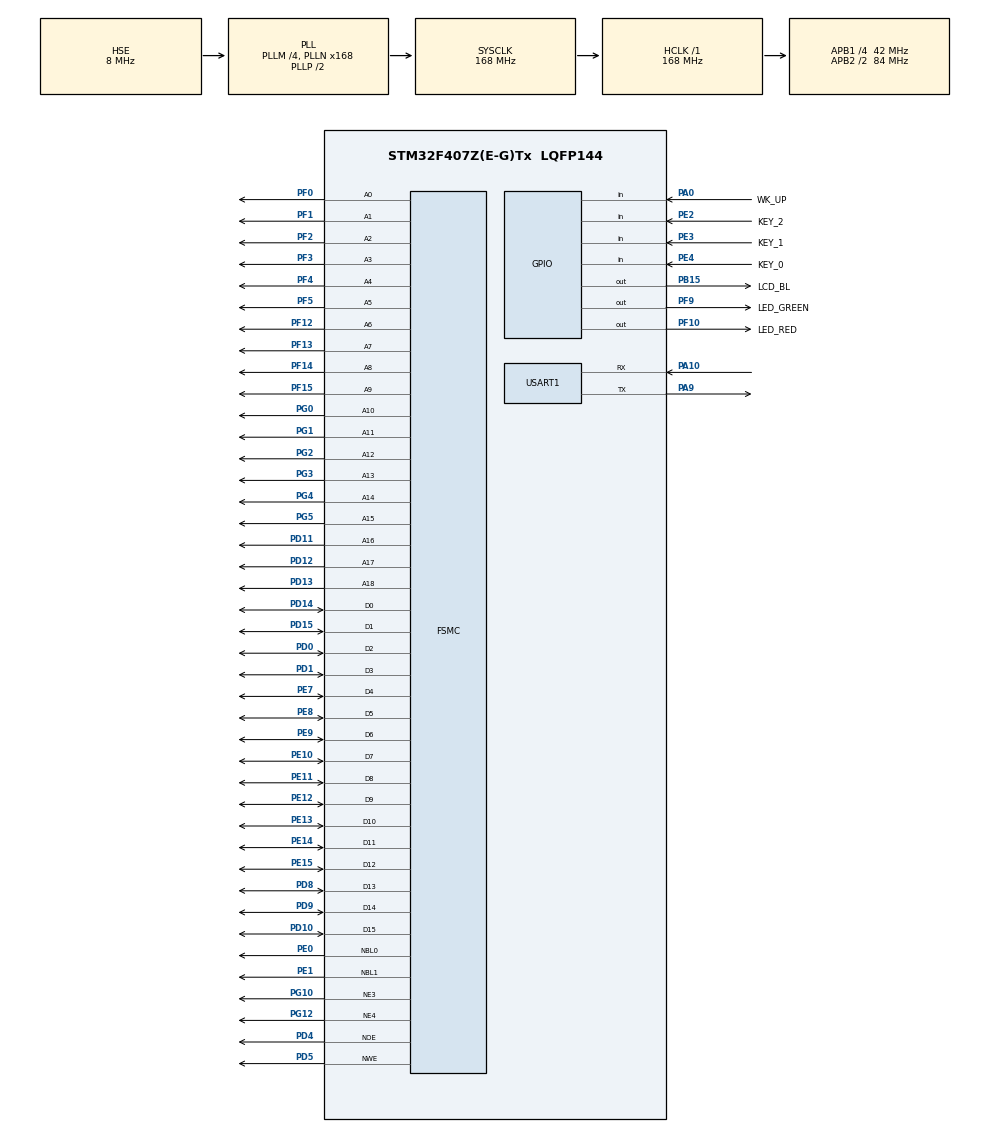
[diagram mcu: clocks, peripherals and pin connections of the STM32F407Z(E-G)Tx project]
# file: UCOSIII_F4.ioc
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FSMC.AddressSetupTime3=0
FSMC.BusTurnAroundDuration1=0
FSMC.BusTurnAroundDuration3=0
FSMC.DataSetupTime1=60
FSMC.DataSetupTime3=8
FSMC.ExtendedAddressSetupTime1=9
FSMC.ExtendedBusTurnAroundDuration1=0
FSMC.ExtendedDataSetupTime1=8
FSMC.ExtendedMode1=FSMC_EXTENDED_MODE_ENABLE
FSMC.ExtendedMode3=FSMC_EXTENDED_MODE_DISABLE
FSMC.WriteOperation3=FSMC_WRITE_OPERATION_ENABLE
Mcu.Family=STM32F4
Mcu.Name=STM32F407Z(E-G)Tx
Mcu.Package=LQFP144
NVIC.PriorityGroup=NVIC_PRIORITYGROUP_4
NVIC.TIM1_UP_TIM10_IRQn=true\:0\:0\:false\:false\:true\:false\:true
NVIC.TimeBase=TIM1_UP_TIM10_IRQn
NVIC.TimeBaseIP=TIM1
NVIC.USART1_IRQn=true\:0\:0\:false\:false\:true\:true\:true
PA0-WKUP.GPIO_Label=WK_UP
PA0-WKUP.GPIO_PuPd=GPIO_PULLDOWN
PA0-WKUP.Signal=GPIO_Input
PA10.Mode=Asynchronous
PA10.Signal=USART1_RX
PA13.Mode=Serial_Wire
PA13.Signal=SYS_JTMS-SWDIO
PA14.Mode=Serial_Wire
PA14.Signal=SYS_JTCK-SWCLK
PA9.Mode=Asynchronous
PA9.Signal=USART1_TX
PB15.GPIO_Label=LCD_BL
PB15.GPIO_Speed=GPIO_SPEED_FREQ_HIGH
PB15.Signal=GPIO_Output
PC14-OSC32_IN.Mode=LSE-External-Oscillator
PC14-OSC32_IN.Signal=RCC_OSC32_IN
PC15-OSC32_OUT.Mode=LSE-External-Oscillator
PC15-OSC32_OUT.Signal=RCC_OSC32_OUT
PD0.Signal=FSMC_D2_DA2
PD1.Signal=FSMC_D3_DA3
PD10.Signal=FSMC_D15_DA15
PD11.Signal=FSMC_A16_CLE
PD12.Signal=FSMC_A17_ALE
PD13.Signal=FSMC_A18
PD14.Signal=FSMC_D0_DA0
PD15.Signal=FSMC_D1_DA1
PD4.Signal=FSMC_NOE
PD5.Signal=FSMC_NWE
PD8.Signal=FSMC_D13_DA13
PD9.Signal=FSMC_D14_DA14
PE0.Signal=FSMC_NBL0
PE1.Signal=FSMC_NBL1
PE10.Signal=FSMC_D7_DA7
PE11.Signal=FSMC_D8_DA8
PE12.Signal=FSMC_D9_DA9
PE13.Signal=FSMC_D10_DA10
PE14.Signal=FSMC_D11_DA11
PE15.Signal=FSMC_D12_DA12
PE2.GPIO_Label=KEY_2
PE2.GPIO_PuPd=GPIO_PULLUP
PE2.Signal=GPIO_Input
PE3.GPIO_Label=KEY_1
PE3.GPIO_PuPd=GPIO_PULLUP
PE3.Signal=GPIO_Input
PE4.GPIO_Label=KEY_0
PE4.GPIO_PuPd=GPIO_PULLUP
PE4.Signal=GPIO_Input
PE7.Signal=FSMC_D4_DA4
PE8.Signal=FSMC_D5_DA5
PE9.Signal=FSMC_D6_DA6
PF0.Signal=FSMC_A0
PF1.Signal=FSMC_A1
PF10.GPIO_Label=LED_RED
PF10.GPIO_PuPd=GPIO_PULLUP
PF10.GPIO_Speed=GPIO_SPEED_FREQ_HIGH
PF10.PinState=GPIO_PIN_SET
PF10.Signal=GPIO_Output
PF12.Signal=FSMC_A6
PF13.Signal=FSMC_A7
PF14.Signal=FSMC_A8
PF15.Signal=FSMC_A9
PF2.Signal=FSMC_A2
PF3.Signal=FSMC_A3
PF4.Signal=FSMC_A4
PF5.Signal=FSMC_A5
PF9.GPIO_Label=LED_GREEN
PF9.GPIO_PuPd=GPIO_PULLUP
PF9.GPIO_Speed=GPIO_SPEED_FREQ_HIGH
PF9.PinState=GPIO_PIN_SET
PF9.Signal=GPIO_Output
PG0.Signal=FSMC_A10
PG1.Signal=FSMC_A11
PG10.Mode=NorPsramChipSelect3_3
PG10.Signal=FSMC_NE3
PG12.Mode=NorPsramChipSelect4_1
PG12.Signal=FSMC_NE4
PG2.Signal=FSMC_A12
PG3.Signal=FSMC_A13
PG4.Signal=FSMC_A14
PG5.Signal=FSMC_A15
PH0-OSC_IN.Mode=HSE-External-Oscillator
PH0-OSC_IN.Signal=RCC_OSC_IN
PH1-OSC_OUT.Mode=HSE-External-Oscillator
PH1-OSC_OUT.Signal=RCC_OSC_OUT
ProjectManager.HeapSize=0x200
ProjectManager.StackSize=0x400
ProjectManager.TargetToolchain=MDK-ARM V5
RCC.48MHZClocksFreq_Value=84000000
RCC.AHBFreq_Value=168000000
RCC.APB1CLKDivider=RCC_HCLK_DIV4
RCC.APB1Freq_Value=42000000
RCC.APB1TimFreq_Value=84000000
RCC.APB2CLKDivider=RCC_HCLK_DIV2
RCC.APB2Freq_Value=84000000
RCC.APB2TimFreq_Value=168000000
RCC.CortexFreq_Value=168000000
RCC.HCLKFreq_Value=168000000
RCC.HSE_VALUE=8000000
RCC.HSI_VALUE=16000000
RCC.PLLM=4
RCC.PLLN=168
RCC.PLLSourceVirtual=RCC_PLLSOURCE_HSE
RCC.SYSCLKFreq_VALUE=168000000
RCC.SYSCLKSource=RCC_SYSCLKSOURCE_PLLCLK
RCC.VCOOutputFreq_Value=336000000
SH.FSMC_A0.0=FSMC_A0,19b-a3
SH.FSMC_A1.0=FSMC_A1,19b-a3
SH.FSMC_A10.0=FSMC_A10,19b-a3
SH.FSMC_A11.0=FSMC_A11,19b-a3
SH.FSMC_A12.0=FSMC_A12,19b-a3
SH.FSMC_A13.0=FSMC_A13,19b-a3
SH.FSMC_A14.0=FSMC_A14,19b-a3
SH.FSMC_A15.0=FSMC_A15,19b-a3
SH.FSMC_A16_CLE.0=FSMC_A16,19b-a3
SH.FSMC_A17_ALE.0=FSMC_A17,19b-a3
SH.FSMC_A18.0=FSMC_A18,19b-a3
SH.FSMC_A2.0=FSMC_A2,19b-a3
SH.FSMC_A3.0=FSMC_A3,19b-a3
SH.FSMC_A4.0=FSMC_A4,19b-a3
SH.FSMC_A5.0=FSMC_A5,19b-a3
SH.FSMC_A6.0=FSMC_A6,A6_1
SH.FSMC_A6.1=FSMC_A6,19b-a3
SH.FSMC_A7.0=FSMC_A7,19b-a3
SH.FSMC_A8.0=FSMC_A8,19b-a3
SH.FSMC_A9.0=FSMC_A9,19b-a3
SH.FSMC_D0_DA0.0=FSMC_D0,16b-d1
SH.FSMC_D0_DA0.1=FSMC_D0,16b-d3
SH.FSMC_D10_DA10.0=FSMC_D10,16b-d1
SH.FSMC_D10_DA10.1=FSMC_D10,16b-d3
SH.FSMC_D11_DA11.0=FSMC_D11,16b-d1
SH.FSMC_D11_DA11.1=FSMC_D11,16b-d3
SH.FSMC_D12_DA12.0=FSMC_D12,16b-d1
SH.FSMC_D12_DA12.1=FSMC_D12,16b-d3
SH.FSMC_D13_DA13.0=FSMC_D13,16b-d1
SH.FSMC_D13_DA13.1=FSMC_D13,16b-d3
SH.FSMC_D14_DA14.0=FSMC_D14,16b-d1
SH.FSMC_D14_DA14.1=FSMC_D14,16b-d3
SH.FSMC_D15_DA15.0=FSMC_D15,16b-d1
SH.FSMC_D15_DA15.1=FSMC_D15,16b-d3
SH.FSMC_D1_DA1.0=FSMC_D1,16b-d1
SH.FSMC_D1_DA1.1=FSMC_D1,16b-d3
SH.FSMC_D2_DA2.0=FSMC_D2,16b-d1
SH.FSMC_D2_DA2.1=FSMC_D2,16b-d3
SH.FSMC_D3_DA3.0=FSMC_D3,16b-d1
SH.FSMC_D3_DA3.1=FSMC_D3,16b-d3
SH.FSMC_D4_DA4.0=FSMC_D4,16b-d1
SH.FSMC_D4_DA4.1=FSMC_D4,16b-d3
SH.FSMC_D5_DA5.0=FSMC_D5,16b-d1
SH.FSMC_D5_DA5.1=FSMC_D5,16b-d3
SH.FSMC_D6_DA6.0=FSMC_D6,16b-d1
SH.FSMC_D6_DA6.1=FSMC_D6,16b-d3
SH.FSMC_D7_DA7.0=FSMC_D7,16b-d1
SH.FSMC_D7_DA7.1=FSMC_D7,16b-d3
SH.FSMC_D8_DA8.0=FSMC_D8,16b-d1
SH.FSMC_D8_DA8.1=FSMC_D8,16b-d3
SH.FSMC_D9_DA9.0=FSMC_D9,16b-d1
SH.FSMC_D9_DA9.1=FSMC_D9,16b-d3
SH.FSMC_NBL0.0=FSMC_NBL0,2ByteEnable3
SH.FSMC_NBL1.0=FSMC_NBL1,2ByteEnable3
SH.FSMC_NOE.0=FSMC_NOE,Lcd1
SH.FSMC_NOE.1=FSMC_NOE,Sram3
SH.FSMC_NWE.0=FSMC_NWE,Lcd1
SH.FSMC_NWE.1=FSMC_NWE,Sram3
TIM7.Period=1
TIM7.Prescaler=84-1
USART1.VirtualMode=VM_ASYNC
VP_SYS_VS_tim1.Mode=TIM1
VP_TIM7_VS_ClockSourceINT.Mode=Enable_Timer
board=custom

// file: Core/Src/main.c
/* USER CODE BEGIN Header */
/**
  ******************************************************************************
  * @file           : main.c
  * @brief          : Main program body
  ******************************************************************************
  * @attention
  *
  * <h2><center>&copy; Copyright (c) 2020 STMicroelectronics.
  * All rights reserved.</center></h2>
  *
  * This software component is licensed by ST under BSD 3-Clause license,
  * the "License"; You may not use this file except in compliance with the
  * License. You may obtain a copy of the License at:
  *                        opensource.org/licenses/BSD-3-Clause
  *
  ******************************************************************************
  */
/* USER CODE END Header */
#include "main.h"
#include "tim.h"
#include "usart.h"
#include "gpio.h"
#include "fsmc.h"

/* USER CODE BEGIN Includes */
#include "key.h"			//引用按键扫描相关函数
#include "ILI93xx.h"	//LCD头文件
#include "sram.h"			//引用外部内存读写相关函数
#include "malloc.h"		//引用内存管理相关函数
#include "stdio.h"

#include "includes.h"
#include "delay.h"
#include "sys.h"
/* USER CODE END Includes */

/* USER CODE BEGIN PTD */
/*----------------------灯等引脚的定义---------------------------*/
#define LED_GREEN_H		HAL_GPIO_WritePin(LED_GREEN_GPIO_Port,LED_GREEN_Pin,GPIO_PIN_SET)
#define LED_GREEN_L		HAL_GPIO_WritePin(LED_GREEN_GPIO_Port,LED_GREEN_Pin,GPIO_PIN_RESET)
#define LED_GREEN_TO	HAL_GPIO_TogglePin(LED_GREEN_GPIO_Port,LED_GREEN_Pin)

#define LED_RED_H		HAL_GPIO_WritePin(LED_RED_GPIO_Port,LED_RED_Pin,GPIO_PIN_SET)
#define LED_RED_L		HAL_GPIO_WritePin(LED_RED_GPIO_Port,LED_RED_Pin,GPIO_PIN_RESET)
#define LED_RED_TO	HAL_GPIO_TogglePin(LED_RED_GPIO_Port,LED_RED_Pin)

//LCD刷屏时使用的颜色
int lcd_discolor[14]={	WHITE, BLACK, BLUE,  BRED,
						GRED,  GBLUE, RED,   MAGENTA,
						GREEN, CYAN,  YELLOW,BROWN,
						BRRED, GRAY };

/*----------------------宏定义配置开始任务---------------------------*/
//任务优先级
#define START_TASK_PRIO		3
//任务堆栈大小
#define START_STK_SIZE 		512
//任务控制块
OS_TCB StartTaskTCB;
//任务堆栈,这里声明了任务堆栈名，任务大小早已设置过
CPU_STK START_TASK_STK[START_STK_SIZE];
//任务函数
void start_task(void *p_arg);

/*----------------------宏定义配置任务1---------------------------*/
//任务优先级
#define TASK1_TASK_PRIO		4
//任务堆栈大小
#define TASK1_STK_SIZE 		128
//任务控制块
OS_TCB TASK1_TaskTCB;
//任务堆栈
CPU_STK TASK1_TASK_STK[TASK1_STK_SIZE];
void task1_task(void *p_arg);

/*----------------------宏定义配置任务2---------------------------*/
//任务优先级
#define TASK2_TASK_PRIO		5
//任务堆栈大小
#define TASK2_STK_SIZE 		128
//任务控制块
OS_TCB TASK2_TaskTCB;
//任务堆栈
CPU_STK TASK2_TASK_STK[TASK2_STK_SIZE];
//任务函数
void task2_task(void *p_arg);

/*----------------------宏定义配置任务3---------------------------*/
//任务优先级
#define TASK3_TASK_PRIO		6
//任务堆栈大小
#define TASK3_STK_SIZE		128
//任务控制块
OS_TCB	TASK3_TaskTCB;
//任务堆栈
__align(8) CPU_STK	TASK3_TASK_STK[TASK3_STK_SIZE];
//任务函数
void task3_task(void *p_arg);

/* USER CODE END PTD */

void SystemClock_Config(void);

/* USER CODE BEGIN 0 */

//重定向printf到串口1
#if 1
#include <stdio.h>
#pragma import(__use_no_semihosting)
//标准库需要的支持函数
struct __FILE
{
	int handle;
};

FILE __stdout;
//定义_sys_exit()以避免使用半主机模式
void _sys_exit(int x)
{
	x = x;
}
//重定义fputc函数
int fputc(int ch, FILE *stream)
{
    /* 堵塞判断串口是否发送完成 */
    while((USART1->SR & 0X40) == 0);

    /* 串口发送完成，将该字符发送 */
    USART1->DR = (uint8_t) ch;

    return ch;
}
#endif

/* USER CODE END 0 */

int main(void)
{
  /* USER CODE BEGIN 1 */
	OS_ERR err;				//OS初始化的输入参数
	CPU_SR_ALLOC();
	delay_init(168);  //时钟初始化,同时也是为了UCOSIII的使用
  /* USER CODE END 1 */

  /* MCU Configuration--------------------------------------------------------*/

  /* Reset of all peripherals, Initializes the Flash interface and the Systick. */
  HAL_Init();

  /* Configure the system clock */
  SystemClock_Config();

  /* Initialize all configured peripherals */
  MX_GPIO_Init();
  MX_FSMC_Init();
  MX_USART1_UART_Init();
  MX_TIM7_Init();
  /* USER CODE BEGIN 2 */
	TFTLCD_Init();		//初始化LCD

	my_mem_init(SRAMIN);		//初始化内部内存池
	my_mem_init(SRAMEX);		//初始化外部内存池
	my_mem_init(SRAMCCM);		//初始化CCM内存池

	LCD_Clear(WHITE);
	LCD_ShowString(30,10,210,24,24,"MY name is YYJed!");

	OSInit(&err);		//初始化UCOSIII
	OS_CRITICAL_ENTER();//进入临界区
	/*----------------创建开始任务-------------------*/
	OSTaskCreate(		(OS_TCB 	*  )	&StartTaskTCB,						//任务控制块
									(CPU_CHAR	*  )	"start task", 						//任务名字
									(OS_TASK_PTR )	start_task, 							//任务函数
									(void		* 	 )			0,										//传递给任务函数的参数
									(OS_PRIO	   )	START_TASK_PRIO,    			//任务优先级
									(CPU_STK   * )	&START_TASK_STK[0],				//任务堆栈基地址
									(CPU_STK_SIZE)	START_STK_SIZE/10,				//任务堆栈深度限位
									(CPU_STK_SIZE)	START_STK_SIZE,						//任务堆栈大小
									(OS_MSG_QTY  )			0,										//任务内部消息队列能够接收的最大消息数目,为0时禁止接收消息
									(OS_TICK	   )			0,										//当使能时间片轮转时的时间片长度，为0时为默认长度，
									(void   	*  )			0,										//用户补充的存储区
									(OS_OPT      )	OS_OPT_TASK_STK_CHK|OS_OPT_TASK_STK_CLR, //任务选项:允许对任务进行堆栈检查，在创建任务时清除堆栈
									(OS_ERR 	*  )		&err);									//存放该函数错误时的返回值

										OS_CRITICAL_EXIT();											//退出临界区
										OSStart(&err);  												//开启UCOSIII
  /* USER CODE END 2 */

  /* Infinite loop */
  while (1)
  {

  }
}

void SystemClock_Config(void)
{
  RCC_OscInitTypeDef RCC_OscInitStruct = {0};
  RCC_ClkInitTypeDef RCC_ClkInitStruct = {0};

  /** Configure the main internal regulator output voltage
  */
  __HAL_RCC_PWR_CLK_ENABLE();
  __HAL_PWR_VOLTAGESCALING_CONFIG(PWR_REGULATOR_VOLTAGE_SCALE1);
  /** Initializes the RCC Oscillators according to the specified parameters
  * in the RCC_OscInitTypeDef structure.
  */
  RCC_OscInitStruct.OscillatorType = RCC_OSCILLATORTYPE_HSE;
  RCC_OscInitStruct.HSEState = RCC_HSE_ON;
  RCC_OscInitStruct.PLL.PLLState = RCC_PLL_ON;
  RCC_OscInitStruct.PLL.PLLSource = RCC_PLLSOURCE_HSE;
  RCC_OscInitStruct.PLL.PLLM = 4;
  RCC_OscInitStruct.PLL.PLLN = 168;
  RCC_OscInitStruct.PLL.PLLP = RCC_PLLP_DIV2;
  RCC_OscInitStruct.PLL.PLLQ = 4;
  if (HAL_RCC_OscConfig(&RCC_OscInitStruct) != HAL_OK)
  {
    Error_Handler();
  }
  /** Initializes the CPU, AHB and APB buses clocks
  */
  RCC_ClkInitStruct.ClockType = RCC_CLOCKTYPE_HCLK|RCC_CLOCKTYPE_SYSCLK
                              |RCC_CLOCKTYPE_PCLK1|RCC_CLOCKTYPE_PCLK2;
  RCC_ClkInitStruct.SYSCLKSource = RCC_SYSCLKSOURCE_PLLCLK;
  RCC_ClkInitStruct.AHBCLKDivider = RCC_SYSCLK_DIV1;
  RCC_ClkInitStruct.APB1CLKDivider = RCC_HCLK_DIV4;
  RCC_ClkInitStruct.APB2CLKDivider = RCC_HCLK_DIV2;

  if (HAL_RCC_ClockConfig(&RCC_ClkInitStruct, FLASH_LATENCY_5) != HAL_OK)
  {
    Error_Handler();
  }
}

/* USER CODE BEGIN 4 */

/*--------------配置开始任务函数----------------*/
void start_task(void *p_arg)
{
	OS_ERR err;
	CPU_SR_ALLOC();
	p_arg = p_arg;

	CPU_Init();
#if OS_CFG_STAT_TASK_EN > 0u
   OSStatTaskCPUUsageInit(&err);  	//统计任务
#endif

#ifdef CPU_CFG_INT_DIS_MEAS_EN		//如果使能了测量中断关闭时间
    CPU_IntDisMeasMaxCurReset();
#endif

#if	OS_CFG_SCHED_ROUND_ROBIN_EN  //当使用时间片轮转的时候
	 //使能时间片轮转调度功能,时间片长度为1个系统时钟节拍，既1*5=5ms
	OSSchedRoundRobinCfg(DEF_ENABLED,1,&err);
#endif

	OS_CRITICAL_ENTER();	//进入临界区
	/*--------------------创建TASK1任务-----------------------*/
	OSTaskCreate(	 (OS_TCB 	* 	)	&TASK1_TaskTCB,
								 (CPU_CHAR*	  )	"task1 task",
                 (OS_TASK_PTR )	task1_task,
                 (void		* 	)	0,
                 (OS_PRIO	  	)	TASK1_TASK_PRIO,
                 (CPU_STK   * )	&TASK1_TASK_STK[0],
                 (CPU_STK_SIZE)	TASK1_STK_SIZE/10,
                 (CPU_STK_SIZE)	TASK1_STK_SIZE,
                 (OS_MSG_QTY  )	0,
                 (OS_TICK	  	)	0,
                 (void   	* 	)	0,
                 (OS_OPT      )	OS_OPT_TASK_STK_CHK|OS_OPT_TASK_STK_CLR,
                 (OS_ERR 	* 	)	&err);

	/*--------------------创建TASK2任务-----------------------*/
	OSTaskCreate(	 (OS_TCB 	* 	)&TASK2_TaskTCB,
								 (CPU_CHAR	* )"task2 task",
                 (OS_TASK_PTR )task2_task,
                 (void		* 	)0,
                 (OS_PRIO	  	)TASK2_TASK_PRIO,
                 (CPU_STK   * )&TASK2_TASK_STK[0],
                 (CPU_STK_SIZE)TASK2_STK_SIZE/10,
                 (CPU_STK_SIZE)TASK2_STK_SIZE,
                 (OS_MSG_QTY  )0,
                 (OS_TICK	  	)0,
                 (void   	* 	)0,
                 (OS_OPT      )OS_OPT_TASK_STK_CHK|OS_OPT_TASK_STK_CLR,
                 (OS_ERR 	* 	)&err);

	/*--------------------创建浮点型任务-----------------------*/
	OSTaskCreate(	 (OS_TCB 	* 	)&TASK3_TaskTCB,
								 (CPU_CHAR	* )"float test task",
                 (OS_TASK_PTR )task3_task,
                 (void		* 	)0,
                 (OS_PRIO	  	)TASK3_TASK_PRIO,
                 (CPU_STK   * )&TASK3_TASK_STK[0],
                 (CPU_STK_SIZE)TASK3_STK_SIZE/10,
                 (CPU_STK_SIZE)TASK3_STK_SIZE,
                 (OS_MSG_QTY  )0,
                 (OS_TICK	  	)0,
                 (void   	* 	)0,
                 (OS_OPT      )OS_OPT_TASK_STK_CHK|OS_OPT_TASK_STK_CLR,
                 (OS_ERR 	* 	)&err);

	/*--------------------挂起开始任务----------------------*/
	OS_TaskSuspend((OS_TCB*)&StartTaskTCB,&err);
	OS_CRITICAL_EXIT();	//进入临界区
}

	/*--------------------配置任务1函数--------------------*/
void task1_task(void *p_arg)
{
	uint8_t task1_num=0;
	OS_ERR err;
	CPU_SR_ALLOC();
	p_arg = p_arg;

	POINT_COLOR = BLACK;
	OS_CRITICAL_ENTER();
	LCD_DrawRectangle(5,110,115,314); 	//画一个矩形
	LCD_DrawLine(5,130,115,130);		//画线
	POINT_COLOR = BLUE;
	LCD_ShowString(6,111,110,16,16,"Task1 Run:000");
	OS_CRITICAL_EXIT();
	while(1)
	{
		task1_num++;	//任务执1行次数加1 注意task1_num1加到255的时候会清零！！
		LED_GREEN_TO;
		printf("任务1已经执行：%d次\r\n",task1_num);
		if(task1_num==5)
		{
			OSTaskDel((OS_TCB*)&TASK1_TaskTCB,&err);	//任务1执行5此后删除掉任务2
			printf("任务1删除了任务2!\r\n");
		}
		LCD_Fill(6,131,114,313,lcd_discolor[task1_num%14]); //填充区域
		LCD_ShowxNum(86,111,task1_num,3,16,0x80);	//显示任务执行次数
		OSTimeDlyHMSM(0,0,1,0,OS_OPT_TIME_HMSM_STRICT,&err); //延时1s
	}
}

	/*--------------------配置任务2函数--------------------*/
void task2_task(void *p_arg)
{
	uint8_t task2_num=0;
	OS_ERR err;
	CPU_SR_ALLOC();
	p_arg = p_arg;

	POINT_COLOR = BLACK;
	OS_CRITICAL_ENTER();
	LCD_DrawRectangle(125,110,234,314); //画一个矩形
	LCD_DrawLine(125,130,234,130);		//画线
	POINT_COLOR = BLUE;
	LCD_ShowString(126,111,110,16,16,"Task2 Run:000");
	OS_CRITICAL_EXIT();
	while(1)
	{
		task2_num++;	//任务2执行次数加1 注意task1_num2加到255的时候会清零！！
		LED_RED_TO;
		printf("任务2已经执行：%d次\r\n",task2_num);
		LCD_ShowxNum(206,111,task2_num,3,16,0x80);  //显示任务执行次数
		LCD_Fill(126,131,233,313,lcd_discolor[13-task2_num%14]); //填充区域
		OSTimeDlyHMSM(0,0,1,0,OS_OPT_TIME_HMSM_STRICT,&err); //延时1s
	}
}

	/*--------------------配置任务3函数--------------------*/
void task3_task(void *p_arg)
{
	CPU_SR_ALLOC();
	static float float_num=0.01;
	while(1)
	{
		float_num+=0.01f;
		OS_CRITICAL_ENTER();	//进入临界区
		printf("float_num的值为: %.4f\r\n",float_num);
		OS_CRITICAL_EXIT();		//退出临界区
		delay_ms(500);			//延时500ms
	}
}
/* USER CODE END 4 */

void HAL_TIM_PeriodElapsedCallback(TIM_HandleTypeDef *htim)
{
  if (htim->Instance == TIM1) {
    HAL_IncTick();
  }
}

void Error_Handler(void)
{
}

/************************ (C) COPYRIGHT STMicroelectronics *****END OF FILE****/
